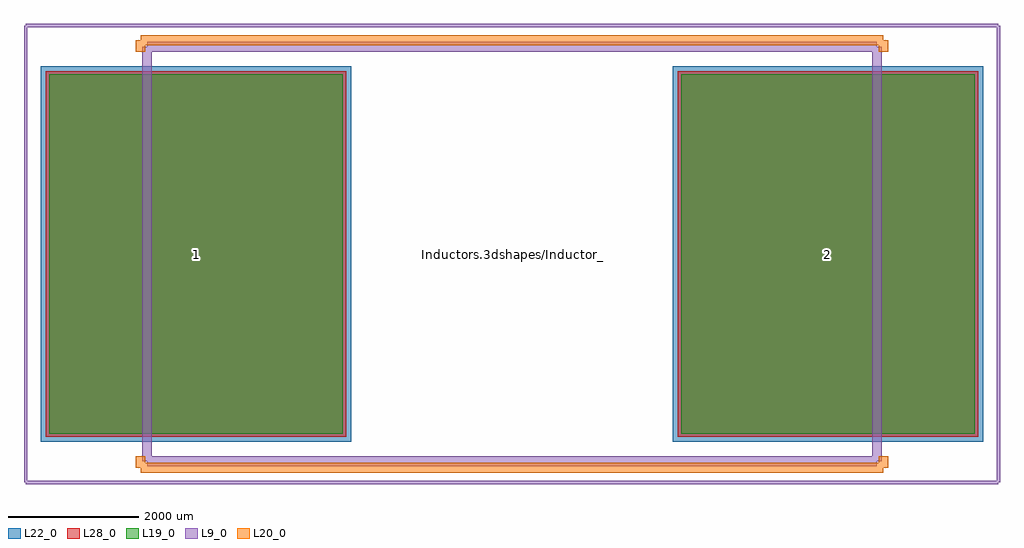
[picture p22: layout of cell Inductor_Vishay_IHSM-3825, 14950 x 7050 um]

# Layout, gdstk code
import gdstk
lib = gdstk.Library(unit=1e-6, precision=1e-09)
def R(c, l, rs):  # rectangles x0, y0, x1, y1
    for r in rs: c.add(gdstk.rectangle(r[:2], r[2:], *l))
L9_0 = (9, 0)
L19_0 = (19, 0)
L20_0 = (20, 0)
L22_0 = (22, 0)
L28_0 = (28, 0)

inductor_vishay_ihsm_382 = lib.new_cell('Inductor_Vishay_IHSM-3825')
R(inductor_vishay_ihsm_382, L19_0, [(-7090,-2750,-2590,2750), (2590,-2750,7090,2750)])
R(inductor_vishay_ihsm_382, L22_0, [(-7215,-2875,-2465,2875), (2465,-2875,7215,2875)])
R(inductor_vishay_ihsm_382, L28_0, [(-7140,-2800,-2540,2800), (2540,-2800,7140,2800)])
inductor_vishay_ihsm_382.add(gdstk.FlexPath([(-5690,-3275),(0,-3275)], 149.998, ends="flush", simple_path=True, layer=20, datatype=0))  # L20_0
inductor_vishay_ihsm_382.add(gdstk.FlexPath([(-5690,-3100),(-5690,-3275)], 149.998, ends="flush", simple_path=True, layer=20, datatype=0))  # L20_0
inductor_vishay_ihsm_382.add(gdstk.FlexPath([(5690,-3275),(0,-3275)], 149.998, ends="flush", simple_path=True, layer=20, datatype=0))  # L20_0
inductor_vishay_ihsm_382.add(gdstk.FlexPath([(5690,-3100),(5690,-3275)], 149.998, ends="flush", simple_path=True, layer=20, datatype=0))  # L20_0
inductor_vishay_ihsm_382.add(gdstk.FlexPath([(5690,3275),(0,3275)], 149.998, ends="flush", simple_path=True, layer=20, datatype=0))  # L20_0
inductor_vishay_ihsm_382.add(gdstk.FlexPath([(5690,3100),(5690,3275)], 149.998, ends="flush", simple_path=True, layer=20, datatype=0))  # L20_0
inductor_vishay_ihsm_382.add(gdstk.FlexPath([(-5690,3275),(0,3275)], 149.998, ends="flush", simple_path=True, layer=20, datatype=0))  # L20_0
inductor_vishay_ihsm_382.add(gdstk.FlexPath([(-5690,3100),(-5690,3275)], 149.998, ends="flush", simple_path=True, layer=20, datatype=0))  # L20_0
inductor_vishay_ihsm_382.add(gdstk.FlexPath([(5590,3175),(-5590,3175)], 149.998, ends="flush", simple_path=True, layer=9, datatype=0))  # L9_0
inductor_vishay_ihsm_382.add(gdstk.FlexPath([(5590,-3175),(5590,3175)], 149.998, ends="flush", simple_path=True, layer=9, datatype=0))  # L9_0
inductor_vishay_ihsm_382.add(gdstk.FlexPath([(-5590,-3175),(5590,-3175)], 149.998, ends="flush", simple_path=True, layer=9, datatype=0))  # L9_0
inductor_vishay_ihsm_382.add(gdstk.FlexPath([(-5590,3175),(-5590,-3175)], 149.998, ends="flush", simple_path=True, layer=9, datatype=0))  # L9_0
inductor_vishay_ihsm_382.add(gdstk.FlexPath([(7450,3500),(-7450,3500)], 50, ends="flush", simple_path=True, layer=9, datatype=0))  # L9_0
inductor_vishay_ihsm_382.add(gdstk.FlexPath([(7450,-3500),(7450,3500)], 50, ends="flush", simple_path=True, layer=9, datatype=0))  # L9_0
inductor_vishay_ihsm_382.add(gdstk.FlexPath([(-7450,-3500),(7450,-3500)], 50, ends="flush", simple_path=True, layer=9, datatype=0))  # L9_0
inductor_vishay_ihsm_382.add(gdstk.FlexPath([(-7450,3500),(-7450,-3500)], 50, ends="flush", simple_path=True, layer=9, datatype=0))  # L9_0
inductor_vishay_ihsm_382.add(gdstk.Label('Inductors.3dshapes/Inductor_Vishay_IHSM-3825.wrl', (0,0), layer=12, texttype=0))
inductor_vishay_ihsm_382.add(gdstk.Label('2', (4840,0), layer=28, texttype=0))
inductor_vishay_ihsm_382.add(gdstk.Label('1', (-4840,0), layer=28, texttype=0))
inductor_vishay_ihsm_382.add(gdstk.Label('type', (0,-4675), layer=9, texttype=0))
inductor_vishay_ihsm_382.add(gdstk.Label('devicename', (0,4175), layer=9, texttype=0))

lib.write_gds('Inductor_Vishay_IHSM-3825.gds')
